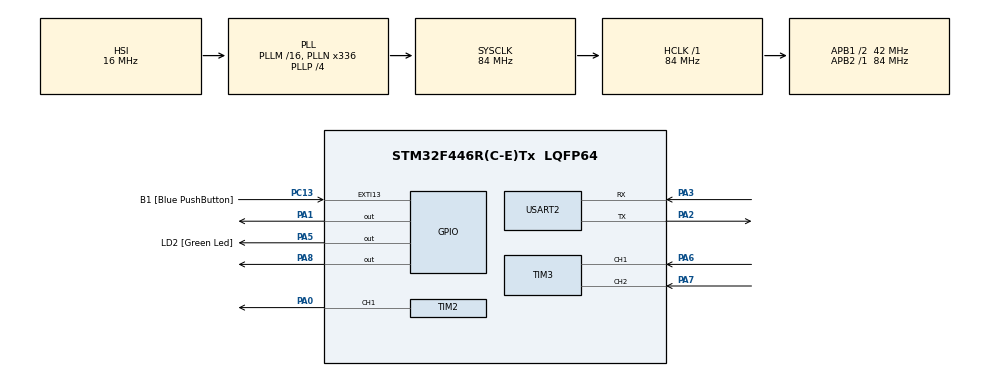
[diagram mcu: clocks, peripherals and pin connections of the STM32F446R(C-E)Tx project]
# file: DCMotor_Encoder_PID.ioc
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Mcu.Family=STM32F4
Mcu.Name=STM32F446R(C-E)Tx
Mcu.Package=LQFP64
NVIC.PriorityGroup=NVIC_PRIORITYGROUP_0
NVIC.USART2_IRQn=true\:0\:0\:false\:false\:true\:true\:true\:true
PA0-WKUP.Signal=S_TIM2_CH1_ETR
PA1.Signal=GPIO_Output
PA13.GPIO_Label=TMS
PA13.Signal=SYS_JTMS-SWDIO
PA14.GPIO_Label=TCK
PA14.Signal=SYS_JTCK-SWCLK
PA2.Mode=Asynchronous
PA2.Signal=USART2_TX
PA3.Mode=Asynchronous
PA3.Signal=USART2_RX
PA5.GPIO_Label=LD2 [Green Led]
PA5.Signal=GPIO_Output
PA6.GPIO_PuPd=GPIO_PULLUP
PA6.Signal=S_TIM3_CH1
PA7.GPIO_PuPd=GPIO_PULLUP
PA7.Signal=S_TIM3_CH2
PA8.Signal=GPIO_Output
PB3.GPIO_Label=SWO
PB3.Signal=SYS_JTDO-SWO
PC13.GPIO_Label=B1 [Blue PushButton]
PC13.GPIO_ModeDefaultEXTI=GPIO_MODE_IT_FALLING
PC13.Signal=GPXTI13
PC14-OSC32_IN.Signal=RCC_OSC32_IN
PC15-OSC32_OUT.Signal=RCC_OSC32_OUT
PH0-OSC_IN.Signal=RCC_OSC_IN
PH1-OSC_OUT.Signal=RCC_OSC_OUT
ProjectManager.HeapSize=0x200
ProjectManager.StackSize=0x400
ProjectManager.TargetToolchain=STM32CubeIDE
RCC.AHBFreq_Value=84000000
RCC.APB1CLKDivider=RCC_HCLK_DIV2
RCC.APB1Freq_Value=42000000
RCC.APB1TimFreq_Value=84000000
RCC.APB2Freq_Value=84000000
RCC.APB2TimFreq_Value=84000000
RCC.CortexFreq_Value=84000000
RCC.FLatency-AdvancedSettings=FLASH_LATENCY_2
RCC.HCLKFreq_Value=84000000
RCC.HSE_VALUE=8000000
RCC.HSI_VALUE=16000000
RCC.LSE_VALUE=32768
RCC.PLLN=336
RCC.PLLP=RCC_PLLP_DIV4
RCC.SYSCLKFreq_VALUE=84000000
RCC.SYSCLKSource=RCC_SYSCLKSOURCE_PLLCLK
RCC.USBFreq_Value=168000000
RCC.VCOOutputFreq_Value=336000000
SH.S_TIM2_CH1_ETR.0=TIM2_CH1,PWM Generation1 CH1
SH.S_TIM3_CH1.0=TIM3_CH1,Encoder_Interface
SH.S_TIM3_CH2.0=TIM3_CH2,Encoder_Interface
TIM2.Channel-PWM\ Generation1\ CH1=TIM_CHANNEL_1
TIM2.Period=39
TIM2.Prescaler=89
TIM3.EncoderMode=TIM_ENCODERMODE_TI12
TIM3.IC1Filter=4
TIM3.IC2Filter=4
USART2.VirtualMode=VM_ASYNC
board=NUCLEO-F446RE

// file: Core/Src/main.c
/* USER CODE BEGIN Header */
/**
  ******************************************************************************
  * @file           : main.c
  * @brief          : Main program body
  ******************************************************************************
  * @attention
  *
  * Copyright (c) 2025 STMicroelectronics.
  * All rights reserved.
  *
  * This software is licensed under terms that can be found in the LICENSE file
  * in the root directory of this software component.
  * If no LICENSE file comes with this software, it is provided AS-IS.
  *
  ******************************************************************************
  */
/* USER CODE END Header */
#include "main.h"
#include "tim.h"
#include "usart.h"
#include "gpio.h"

/* USER CODE BEGIN Includes */
#include <stdio.h>
#include <math.h>
#include <stdlib.h>

/* USER CODE END Includes */

/* USER CODE BEGIN PD */
#define CPR 2000 // TODO: adjust after measurement
#define RPM_SMOOTH 5
#define CMD_BUF_LEN 16
/* USER CODE END PD */

/* USER CODE BEGIN PV */
volatile float target_rpm = 0.0f;
uint8_t rx_byte;
char cmd_buf[CMD_BUF_LEN];
uint8_t cmd_idx = 0;

static float ff_a = 0.487f;   // default (prior no-load)
static float ff_b = 11.47f;   // default (prior no-load)

static uint8_t pid_enabled = 1; // *** NEW ***
/* USER CODE END PV */

void SystemClock_Config(void);

/* USER CODE BEGIN 0 */

// Simple printf retarget to USART2
int __io_putchar(int ch) {
  uint8_t c = (uint8_t)ch;
  HAL_UART_Transmit(&huart2, &c, 1, HAL_MAX_DELAY);
  return ch;
}

// Motor helpers
static inline void set_duty_pct(uint8_t pct) {
	if (pct > 100) pct = 100;
	uint32_t period = __HAL_TIM_GET_AUTORELOAD(&htim2) + 1; // ARR+1
	uint32_t ccr = (period * pct + 50) / 100;               // rounded
	if (ccr > period) ccr = period;                          // clamp
	__HAL_TIM_SET_COMPARE(&htim2, TIM_CHANNEL_1, ccr);
}

// IN1/IN2 direction control (you mapped PA0=IN1 (PWM), PA1=IN2 (GPIO))
static inline void motor_dir_forward(void) {
  HAL_GPIO_WritePin(GPIOA, GPIO_PIN_1, GPIO_PIN_RESET); // IN2 = 0
  // IN1 is PWM on PA0 (TIM2_CH1)
}
static inline void motor_dir_reverse(void) {
  HAL_GPIO_WritePin(GPIOA, GPIO_PIN_1, GPIO_PIN_SET);   // IN2 = 1
  // IN1 (PWM) will be inverted effect relative to direction
}

// Soft-start: brief kick then settle
static inline void soft_start_to(uint8_t target_pct, uint8_t kick_pct, uint16_t kick_ms) {
  set_duty_pct(kick_pct);
  HAL_Delay(kick_ms);
  set_duty_pct(target_pct);
}

//UART receive callback
void HAL_UART_RxCpltCallback(UART_HandleTypeDef *huart) {

	if (huart->Instance == USART2) {

        // immediately restart the receive for the next byte
        HAL_UART_Receive_IT(&huart2, &rx_byte, 1);

        // now process the received byte
        if (rx_byte == '\r' || rx_byte == '\n') {
            if (cmd_idx > 0) { // only process if there is something in buffer
                cmd_buf[cmd_idx] = 0; // null-terminate
                if (cmd_buf[0] == 'S') { // set speed command
                    float new_rpm = atof(&cmd_buf[1]);
                    if (new_rpm >= 0.0f && new_rpm <= 200.0f) {
                        target_rpm = new_rpm;
                        printf("New target RPM: %.1f\r\n", target_rpm);
                    }
                }
                cmd_idx = 0; // reset buffer
            }
        } else if (cmd_idx < (CMD_BUF_LEN - 1)) {
            cmd_buf[cmd_idx++] = rx_byte; // store received byte
        }
    }
}

// State variables (declare ONLY here)
static uint16_t enc_last;
static uint32_t t_sample;
static uint32_t t_print;
static int32_t  delta_accum;
static float rpm_history[RPM_SMOOTH];
static uint8_t rpm_idx = 0;

/* USER CODE END 0 */

int main(void)
{

  /* MCU Configuration--------------------------------------------------------*/

  /* Reset of all peripherals, Initializes the Flash interface and the Systick. */
  HAL_Init();

  /* Configure the system clock */
  SystemClock_Config();

  /* Initialize all configured peripherals */
  MX_GPIO_Init();
  MX_TIM2_Init();
  MX_USART2_UART_Init();
  MX_TIM3_Init();
  /* USER CODE BEGIN 2 */
  HAL_TIM_PWM_Start(&htim2, TIM_CHANNEL_1);           // if you're using PWM
  HAL_TIM_Encoder_Start(&htim3, TIM_CHANNEL_ALL);     // start encoder
  HAL_UART_Receive_IT(&huart2, &rx_byte, 1);

  enc_last    = __HAL_TIM_GET_COUNTER(&htim3);        // <-- runtime init OK here
  t_sample    = HAL_GetTick();
  t_print     = HAL_GetTick();
  delta_accum = 0;

  /* USER CODE END 2 */

  /* Infinite loop */
  /* USER CODE BEGIN WHILE */
  while (1)
  {
	  	//FIND CPR of Motor Code Snippet
	  /*
	    uint16_t now2 = __HAL_TIM_GET_COUNTER(&htim3);
	    printf("enc=%u\r\n", now2);
	    HAL_Delay(200);
	    */

	  uint32_t now = HAL_GetTick();

	    if ((now - t_sample) >= 10) {              // sample every 10 ms
	      t_sample += 10;

	      uint16_t enc_now = __HAL_TIM_GET_COUNTER(&htim3);
	      int16_t  d       = (int16_t)(enc_now - enc_last); // wrap-safe
	      enc_last = enc_now;

	      delta_accum += d;
	    }

	    if ((now - t_print) >= 100) {              // print every 100 ms
	      uint32_t dt = now - t_print;
	      t_print = now;

	      float cps = (1000.0f / (float)dt) * (float)delta_accum;
	      float rps = cps / (float)CPR;
	      float measured_rpm = rps * 60.0f;

	      rpm_history[rpm_idx++] = measured_rpm;
	      if (rpm_idx >= RPM_SMOOTH) rpm_idx = 0;

	      float rpm_sum = 0.0f;
	      for (uint8_t i = 0; i < RPM_SMOOTH; i++) rpm_sum += rpm_history[i];
	      float rpm_filtered = rpm_sum / RPM_SMOOTH;

	      // --- Replace existing PI/PID block with this tuned PID ---
	      static float duty = 0.0f;
	      static float integral = 0.0f;
	      static float last_error = 0.0f;
	      static float deriv_filt = 0.0f;

	      // Tunable gains (start conservative)
	      const float Kp = 0.0f;        // ultimate gain ~ 0.35f when Kd = Ki = 0
	      const float Ki = 0.0f;      // small integral, scaled by dt below
	      const float Kd = 0.0f;        // slightly stronger damping
	      const float d_alpha = 0.85f;    // derivative smoothing (0..1, higher => smoother)

	      // Behaviour limits
	      const float deadband = 1.0f;    // ±1.5 RPM considered "good enough" (was 1.0)
	      //const float integ_enable_margin = 2.0f; // only integrate when |error| > deadband * margin
	      const float Imax = 50.0f;       // much smaller integral clamp
	      const float max_duty_step = 0.8f; // max duty percent change per update (prevents kicks)

	      // compute dt in seconds (use the dt you already computed above)
	      float dt_s = (float)dt / 1000.0f;         // dt is ms between prints
	      if (dt_s <= 0.0f) dt_s = 0.1f;           // safety fallback

	      // error
	      float error = target_rpm - rpm_filtered;

	      /*
	      // integral: only accumulate when error is meaningfully outside the deadband
	      if (fabsf(error) > (deadband * integ_enable_margin)) {
	          integral += error * Ki * dt_s; // scale Ki with dt
	      } else {
	          // optionally slightly unwind integral slowly toward zero to avoid bias
	          integral *= 0.999f;
	      }
	      */
	      static float p_term;

	      float ff = (ff_a * target_rpm) + ff_b; //feedforward term based on linear regression of data

	      p_term = Kp * error;

	      integral += error * dt_s; // scale Ki with dt

	      // clamp integral
	      if (integral > Imax) integral = Imax;
	      if (integral < -Imax) integral = -Imax;

	      // derivative (as rate): difference divided by dt
	      float deriv = (error - last_error) / dt_s;
	      //deriv_filt = (d_alpha * deriv_filt) + ((1.0f - d_alpha) * deriv);
	      float d_out = Kd * deriv;
	      float i_out = Ki * integral;

	      //d_out = 0.0f;
	      //integral = 0.0f;

	      // Compose PID output (note: Ki already applied to integral above)
	      float pid_out = p_term + i_out + d_out;

	      // If within deadband, don't change duty (hold last duty) — prevents twitching
	      if (fabsf(error) <= deadband) {
	          // hold duty — do nothing
	      } else {
	          // rate-limit the duty change
	    	  /*
	          float new_duty = duty + pid_out;
	          float delta = new_duty - duty;
	          if (delta > max_duty_step) delta = max_duty_step;
	          if (delta < -max_duty_step) delta = -max_duty_step;
	          duty += delta;
	          */

	    	  duty = pid_out + ff;

	          // clamp final duty
	          if (duty > 100.0f) duty = 100.0f;
	          if (duty < 0.0f) duty = 0.0f;

	          if (!target_rpm) duty = 0;

	          set_duty_pct((uint8_t)(duty)); // update PWM (rounded)
	      }

	      // save previous error
	      last_error = error;

	      printf("RPM=%.1f target=%.1f duty=%.1f%%\r\n", rpm_filtered, target_rpm, duty);

	      //printf("accum=%ld  cps=%.1f  RPM=%.1f\r\n",
	      //	(long)delta_accum, cps, rpm_filtered);

	      printf("PID=%.2f error=%.2f P=%.2f I=%.2f D=%.2f duty=%.1f\r\n",
	             pid_out, fabsf(error), p_term, i_out, d_out, duty);

	      delta_accum = 0;
	    }
    /* USER CODE END WHILE */

  }
}

void SystemClock_Config(void)
{
  RCC_OscInitTypeDef RCC_OscInitStruct = {0};
  RCC_ClkInitTypeDef RCC_ClkInitStruct = {0};

  /** Configure the main internal regulator output voltage
  */
  __HAL_RCC_PWR_CLK_ENABLE();
  __HAL_PWR_VOLTAGESCALING_CONFIG(PWR_REGULATOR_VOLTAGE_SCALE3);

  /** Initializes the RCC Oscillators according to the specified parameters
  * in the RCC_OscInitTypeDef structure.
  */
  RCC_OscInitStruct.OscillatorType = RCC_OSCILLATORTYPE_HSI;
  RCC_OscInitStruct.HSIState = RCC_HSI_ON;
  RCC_OscInitStruct.HSICalibrationValue = RCC_HSICALIBRATION_DEFAULT;
  RCC_OscInitStruct.PLL.PLLState = RCC_PLL_ON;
  RCC_OscInitStruct.PLL.PLLSource = RCC_PLLSOURCE_HSI;
  RCC_OscInitStruct.PLL.PLLM = 16;
  RCC_OscInitStruct.PLL.PLLN = 336;
  RCC_OscInitStruct.PLL.PLLP = RCC_PLLP_DIV4;
  RCC_OscInitStruct.PLL.PLLQ = 2;
  RCC_OscInitStruct.PLL.PLLR = 2;
  if (HAL_RCC_OscConfig(&RCC_OscInitStruct) != HAL_OK)
  {
    Error_Handler();
  }

  /** Initializes the CPU, AHB and APB buses clocks
  */
  RCC_ClkInitStruct.ClockType = RCC_CLOCKTYPE_HCLK|RCC_CLOCKTYPE_SYSCLK
                              |RCC_CLOCKTYPE_PCLK1|RCC_CLOCKTYPE_PCLK2;
  RCC_ClkInitStruct.SYSCLKSource = RCC_SYSCLKSOURCE_PLLCLK;
  RCC_ClkInitStruct.AHBCLKDivider = RCC_SYSCLK_DIV1;
  RCC_ClkInitStruct.APB1CLKDivider = RCC_HCLK_DIV2;
  RCC_ClkInitStruct.APB2CLKDivider = RCC_HCLK_DIV1;

  if (HAL_RCC_ClockConfig(&RCC_ClkInitStruct, FLASH_LATENCY_2) != HAL_OK)
  {
    Error_Handler();
  }
}

void Error_Handler(void)
{
  __disable_irq();
  while (1)
  {
  }
}
